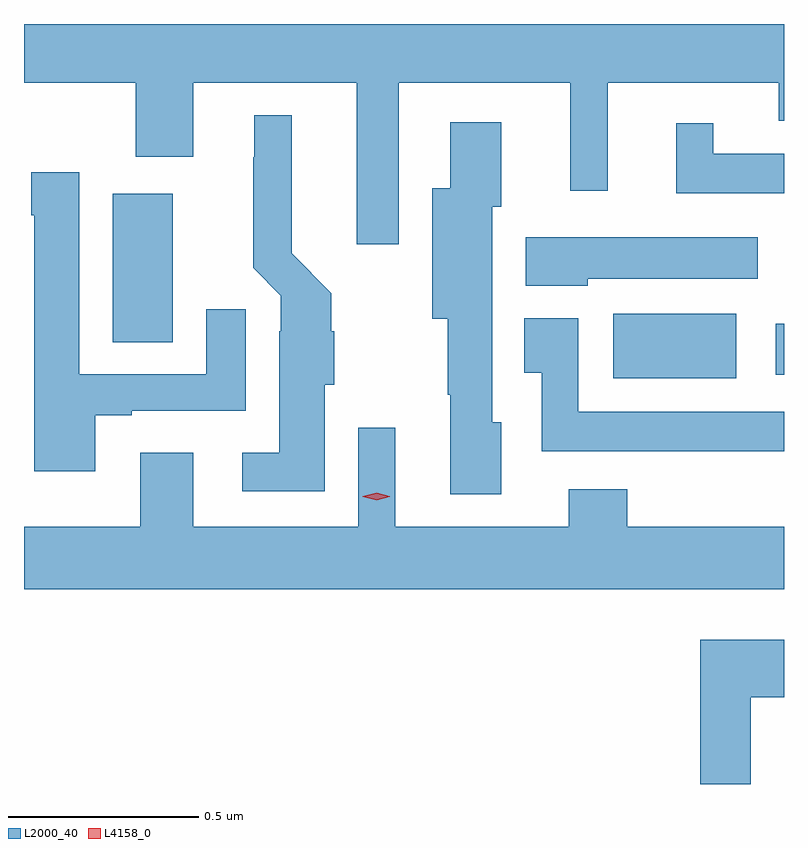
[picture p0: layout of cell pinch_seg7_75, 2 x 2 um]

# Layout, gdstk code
import gdstk
lib = gdstk.Library(unit=1e-6, precision=1e-09)
def R(c, l, rs):  # rectangles x0, y0, x1, y1
    for r in rs: c.add(gdstk.rectangle(r[:2], r[2:], *l))
def P(c, l, *ps):  # polygons
    for p in ps: c.add(gdstk.Polygon(p, *l))
L2000_40 = (2000, 40)
L4158_0 = (4158, 0)

pinch_seg7_75 = lib.new_cell('pinch_seg7_75')
R(pinch_seg7_75, L2000_40, [(1000.952,1062.443,1001.275,1062.613), (1001.379,1062.452,1001.401,1062.586), (999.635,1062.538,999.793,1062.928)])
P(pinch_seg7_75, L2000_40, [(1000.387,1063.22),(1000.838,1063.22),(1000.838,1062.936),(1000.937,1062.936),(1000.937,1063.22),(1001.387,1063.22),(1001.387,1063.121),(1001.401,1063.121),(1001.401,1063.375),(999.401,1063.375),(999.401,1063.22),(999.695,1063.22),(999.695,1063.026),(999.847,1063.026),(999.847,1063.22),(1000.277,1063.22),(1000.277,1062.795),(1000.387,1062.795)],
  [(1000.192,1062.426),(1000.218,1062.426),(1000.218,1062.566),(1000.21,1062.566),(1000.21,1062.666),(1000.105,1062.772),(1000.105,1063.135),(1000.007,1063.135),(1000.007,1063.025),(1000.004,1063.025),(1000.004,1062.733),(1000.077,1062.66),(1000.077,1062.566),(1000.073,1062.566),(1000.073,1062.247),(999.975,1062.247),(999.975,1062.146),(1000.192,1062.146)],
  [(1000.657,1062.327),(1000.633,1062.327),(1000.633,1062.894),(1000.657,1062.894),(1000.657,1063.117),(1000.523,1063.117),(1000.523,1062.943),(1000.475,1062.943),(1000.475,1062.599),(1000.516,1062.599),(1000.516,1062.4),(1000.523,1062.4),(1000.523,1062.137),(1000.657,1062.137)],
  [(1001.401,1063.033),(1001.215,1063.033),(1001.215,1063.114),(1001.117,1063.114),(1001.117,1062.929),(1001.401,1062.929)],
  [(999.589,1062.345),(999.685,1062.345),(999.685,1062.357),(999.985,1062.357),(999.985,1062.625),(999.881,1062.625),(999.881,1062.453),(999.547,1062.453),(999.547,1062.985),(999.42,1062.985),(999.42,1062.872),(999.428,1062.872),(999.428,1062.198),(999.589,1062.198)],
  [(1000.884,1062.704),(1001.332,1062.704),(1001.332,1062.814),(1000.722,1062.814),(1000.722,1062.686),(1000.884,1062.686)],
  [(1001.401,1062.355),(1000.86,1062.355),(1000.86,1062.601),(1000.718,1062.601),(1000.718,1062.457),(1000.763,1062.457),(1000.763,1062.251),(1001.401,1062.251)],
  [(1001.401,1062.052),(1000.988,1062.052),(1000.988,1062.151),(1000.835,1062.151),(1000.835,1062.052),(1000.378,1062.052),(1000.378,1062.313),(1000.281,1062.313),(1000.281,1062.052),(999.847,1062.052),(999.847,1062.247),(999.707,1062.247),(999.707,1062.052),(999.401,1062.052),(999.401,1061.888),(1001.401,1061.888)],
  [(1001.314,1061.603),(1001.401,1061.603),(1001.401,1061.755),(1001.18,1061.755),(1001.18,1061.375),(1001.314,1061.375)])
P(pinch_seg7_75, L4158_0, [(1000.329,1062.122),(1000.293,1062.131),(1000.293,1062.132),(1000.293,1062.132),(1000.329,1062.142),(1000.364,1062.132),(1000.364,1062.132),(1000.364,1062.131)])

lib.write_gds('pinch_seg7_75.gds')
